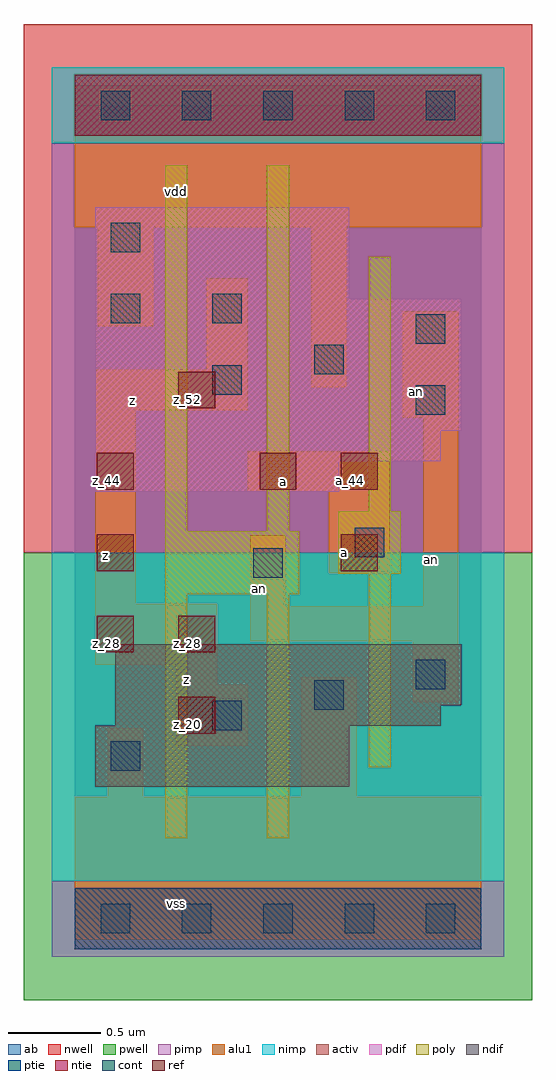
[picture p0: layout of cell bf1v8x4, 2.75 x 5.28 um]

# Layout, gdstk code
import gdstk
lib = gdstk.Library(unit=1e-6, precision=2.5e-09)
def R(c, l, rs):  # rectangles x0, y0, x1, y1
    for r in rs: c.add(gdstk.rectangle(r[:2], r[2:], *l))
def A(c, l, x, y, w, h, nx, ny, dx, dy):  # array of equal rectangles
    R(c, l, [(x+i*dx, y+j*dy, x+i*dx+w, y+j*dy+h) for i in range(nx) for j in range(ny)])
ndif = (3, 0)
pdif = (4, 0)
ntie = (5, 0)
ptie = (6, 0)
ref = (24, 0)
cont = (25, 0)
pwell = (41, 0)
nwell = (42, 0)
activ = (43, 0)
pimp = (44, 0)
nimp = (45, 0)
poly = (46, 0)
alu1 = (49, 0)
ab = (63, 0)

bf1v8x4 = lib.new_cell('bf1v8x4')
R(bf1v8x4, ndif, [(0.11,0.715,1.485,1.045), (0.22,1.045,1.98,1.155), (0.22,1.155,2.09,1.485)])
R(bf1v8x4, pdif, [(0.11,2.31,1.43,2.475), (0.11,2.475,1.98,2.64), (0.11,2.64,2.09,3.355), (0.11,3.355,1.485,3.85)])
R(bf1v8x4, ntie, [(0,4.235,2.2,4.565)])
R(bf1v8x4, ptie, [(0,-0.165,2.2,0.165)])
A(bf1v8x4, ref, 0.12, 1.44, 0.2, 0.2, 1, 3, 0, 0.44)
R(bf1v8x4, ref, [(0.56,1,0.76,1.2), (0.56,1.44,0.76,1.64), (1.44,1.88,1.64,2.08), (1,2.32,1.2,2.52), (1.44,2.32,1.64,2.52), (0.56,2.76,0.76,2.96)])
A(bf1v8x4, cont, 0.14, -0.08, 0.16, 0.16, 5, 2, 0.44, 4.4)
R(bf1v8x4, cont, [(0.195,0.8,0.355,0.96), (0.745,1.02,0.905,1.18), (1.295,1.13,1.455,1.29), (1.845,1.24,2.005,1.4), (0.965,1.845,1.125,2.005), (1.515,1.955,1.675,2.115), (1.845,2.725,2.005,2.885), (0.745,2.835,0.905,2.995), (1.295,2.945,1.455,3.105), (1.845,3.11,2.005,3.27), (0.195,3.22,0.355,3.38), (0.745,3.22,0.905,3.38), (0.195,3.605,0.355,3.765)])
R(bf1v8x4, pwell, [(-0.275,-0.44,2.475,1.98)])
R(bf1v8x4, nwell, [(-0.275,1.98,2.475,4.84)])
R(bf1v8x4, activ, [(0,-0.165,2.2,0.165), (0.11,0.715,1.485,1.045), (0.22,1.045,1.98,1.155), (0.22,1.155,2.09,1.485), (0.11,2.31,1.43,2.475), (0.11,2.475,1.98,2.64), (0.11,2.64,2.09,3.355), (0.11,3.355,1.485,3.85), (0,4.235,2.2,4.565)])
R(bf1v8x4, pimp, [(-0.125,-0.205,2.325,0.205), (-0.125,1.98,2.325,4.195)])
R(bf1v8x4, nimp, [(-0.125,0.205,2.325,1.98), (-0.125,4.195,2.325,4.605)])
R(bf1v8x4, poly, [(0.49,0.435,0.61,1.755), (1.04,0.435,1.16,1.755), (1.59,0.82,1.71,1.865), (0.49,1.755,1.215,2.095), (1.425,1.865,1.765,2.205), (0.49,2.095,0.61,4.075), (1.04,2.095,1.16,4.075), (1.59,2.205,1.71,3.58)])
R(bf1v8x4, alu1, [(0,-0.11,2.2,0.66), (0.18,0.66,0.37,1.03), (1.225,0.66,1.525,1.305), (0.55,0.935,0.935,1.265), (1.83,1.17,2.075,1.5), (0.55,1.265,0.77,1.375), (0.11,1.375,0.77,1.705), (0.95,1.5,2.075,1.69), (0.95,1.69,1.14,2.075), (1.885,1.69,2.075,2.71), (0.11,1.705,0.33,2.75), (1.375,1.87,1.705,2.31), (0.935,2.31,1.705,2.53), (1.775,2.71,2.075,3.285), (0.11,2.75,0.935,2.97), (1.28,2.875,1.47,3.74), (0.715,2.97,0.935,3.465), (0.125,3.205,0.425,3.74), (0,3.74,2.2,4.51)])
R(bf1v8x4, ab, [(0,0,2.2,4.4)])
bf1v8x4.add(gdstk.Label('vss', (0.55,0.0825), layer=49, texttype=0))
bf1v8x4.add(gdstk.Label('z', (0.605,1.2925), layer=49, texttype=0))
bf1v8x4.add(gdstk.Label('an', (1.9325,1.945), layer=49, texttype=0))
bf1v8x4.add(gdstk.Label('a', (1.4575,1.98), layer=49, texttype=0))
bf1v8x4.add(gdstk.Label('an', (0.9975,1.785), layer=49, texttype=0))
bf1v8x4.add(gdstk.Label('a', (1.1275,2.365), layer=49, texttype=0))
bf1v8x4.add(gdstk.Label('an', (1.85,2.8525), layer=49, texttype=0))
bf1v8x4.add(gdstk.Label('z', (0.165,1.965), layer=49, texttype=0))
bf1v8x4.add(gdstk.Label('z', (0.315,2.805), layer=49, texttype=0))
bf1v8x4.add(gdstk.Label('vdd', (0.55,3.9325), layer=49, texttype=0))
bf1v8x4.add(gdstk.Label('z_20', (0.61,1.05), layer=24, texttype=0))
bf1v8x4.add(gdstk.Label('z_28', (0.61,1.49), layer=24, texttype=0))
bf1v8x4.add(gdstk.Label('z_52', (0.61,2.81), layer=24, texttype=0))
bf1v8x4.add(gdstk.Label('a_44', (1.05,2.37), layer=24, texttype=0))
bf1v8x4.add(gdstk.Label('a_36', (1.49,1.93), layer=24, texttype=0))
bf1v8x4.add(gdstk.Label('a_44', (1.49,2.37), layer=24, texttype=0))
bf1v8x4.add(gdstk.Label('z_28', (0.17,1.49), layer=24, texttype=0))
bf1v8x4.add(gdstk.Label('z_36', (0.17,1.93), layer=24, texttype=0))
bf1v8x4.add(gdstk.Label('z_44', (0.17,2.37), layer=24, texttype=0))

lib.write_gds('bf1v8x4.gds')
